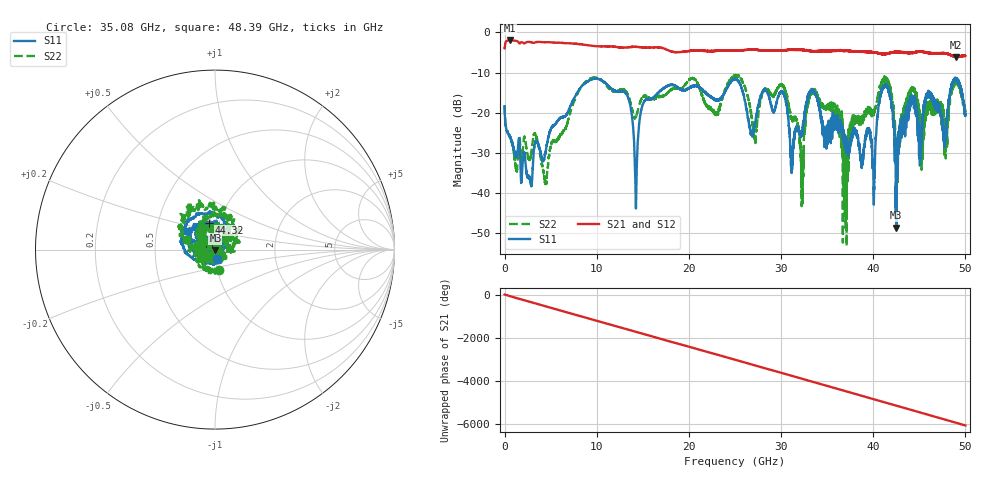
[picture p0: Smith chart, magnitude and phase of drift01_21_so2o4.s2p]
!Created with skrf (http://scikit-rf.org).
# Hz S RI R 50.0
!freq ReS11 ImS11 ReS21 ImS21 ReS12 ImS12 ReS22 ImS22
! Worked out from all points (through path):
!   10001 points, 300 kHz to 50 GHz, reference 50 ohm
!   highest |S21| = -2.00 dB at 575.3 MHz (marker M1); lowest = -6.1 dB at 48.98 GHz (marker M2)
!   group delay of S21, straight-line fit = 336 ps
!   lowest |S11| = -48.6 dB at 42.51 GHz (marker M3), VSWR 1.01, Z = 50.2 - j0.286 ohm
!   |S11| at or under -10 dB: start of sweep to end of sweep
!   |S22| runs from -53.2 to -10.5 dB; largest |S21 - S12| = 0.02
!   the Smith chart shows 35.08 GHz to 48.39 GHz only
!   S11 on the Smith chart (normalised r, x): 35.08 GHz: 1.02, -0.10; 44.32 GHz: 0.90, +0.28; 48.39 GHz: 0.72, +0.16
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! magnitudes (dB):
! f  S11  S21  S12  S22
! 300 kHz  -18.4  -4.0  -4.1  -18.2
! 575.3 MHz  -26.0  -2.0  -2.0  -26.0
! 4.435 GHz  -29.9  -2.4  -2.4  -37.0
! 8.335 GHz  -13.5  -3.0  -3.0  -13.5
! 13.16 GHz  -15.1  -3.7  -3.7  -14.7
! 14.25 GHz  -42.8  -3.6  -3.6  -21.1
! 16.67 GHz  -15.0  -3.7  -3.7  -15.9
! 25 GHz  -11.6  -4.5  -4.6  -10.9
! 27.14 GHz  -22.8  -4.3  -4.3  -26.1
! 30.2 GHz  -15.1  -4.5  -4.5  -13.5
! 32.23 GHz  -24.8  -4.3  -4.3  -37.2
! 33.34 GHz  -14.4  -4.7  -4.6  -14.5
! 35.08 GHz  -25.9  -4.6  -4.6  -18.6
! 37.03 GHz  -26.9  -4.5  -4.6  -31.3
! 40.06 GHz  -42.6  -5.0  -5.0  -20.6
! 41.67 GHz  -14.4  -5.1  -5.1  -12.5
! 42.51 GHz  -48.6  -4.9  -4.9  -27.7
! 44.32 GHz  -16.3  -5.0  -5.0  -14.1
! 45.31 GHz  -22.0  -4.7  -4.9  -26.0
! 48.39 GHz  -14.6  -5.6  -5.7  -15.6
! 48.98 GHz  -11.4  -6.1  -6.0  -12.8
! 50 GHz  -20.3  -5.8  -5.8  -19.7
